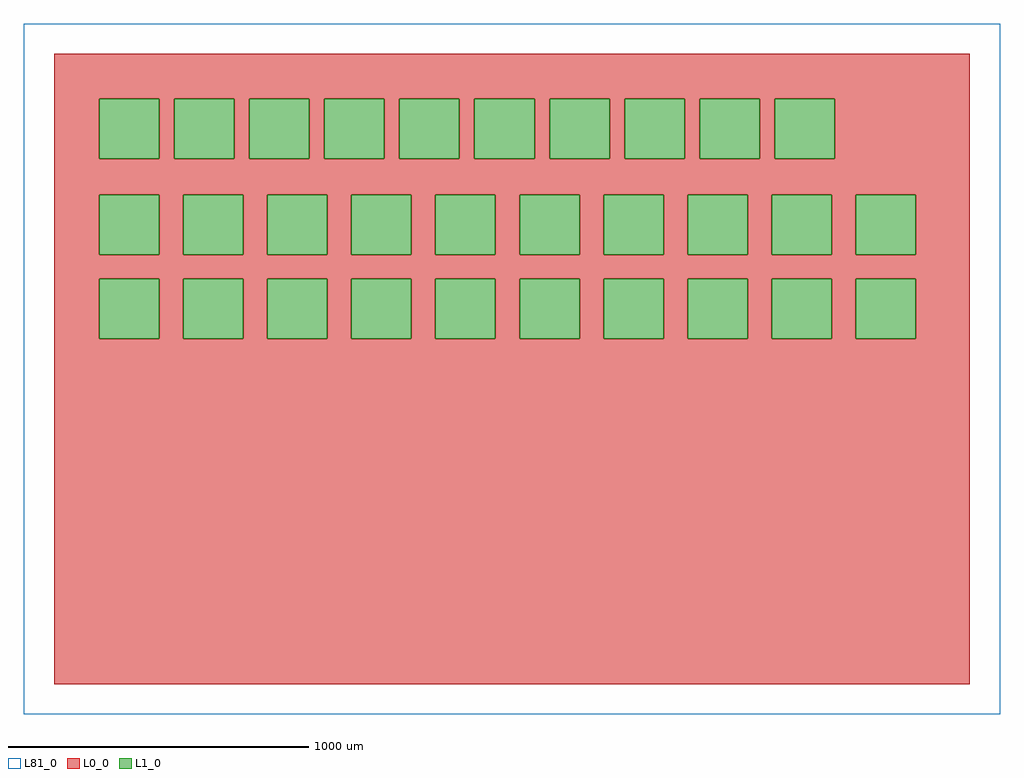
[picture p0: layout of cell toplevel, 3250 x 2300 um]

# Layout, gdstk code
import gdstk
lib = gdstk.Library(unit=1e-6, precision=1e-09)
def R(c, l, rs):  # rectangles x0, y0, x1, y1
    for r in rs: c.add(gdstk.rectangle(r[:2], r[2:], *l))
def P(c, l, *ps):  # polygons
    for p in ps: c.add(gdstk.Polygon(p, *l))
L0_0 = (0, 0)
L1_0 = (1, 0)
L81_0 = (81, 0)

rectangle = lib.new_cell('rectangle')

offset = lib.new_cell('offset')
R(offset, L81_0, [(-150,-150,3100,2150)])

rectangle002 = lib.new_cell('rectangle002')
R(rectangle002, L1_0, [(0,0,200,200)])

boolean = lib.new_cell('boolean')
P(boolean, L0_0, [(1525,1050),(-1525,1050),(-1525,700),(-1375,700),(-1375,900),(-1175,900),(-1175,700),(-1125,700),(-1125,900),(-925,900),(-925,700),(-875,700),(-875,900),(-675,900),(-675,700),(-625,700),(-625,900),(-425,900),(-425,700),(-375,700),(-375,900),(-175,900),(-175,700),(-125,700),(-125,900),(75,900),(75,700),(125,700),(125,900),(325,900),(325,700),(375,700),(375,900),(575,900),(575,700),(625,700),(625,900),(825,900),(825,700),(875,700),(875,900),(1075,900),(1075,700),(875,700),(825,700),(625,700),(575,700),(375,700),(325,700),(125,700),(75,700),(-125,700),(-175,700),(-375,700),(-425,700),(-625,700),(-675,700),(-875,700),(-925,700),(-1125,700),(-1175,700),(-1375,700),(-1525,700),(-1525,380),(-1375,380),(-1375,580),(-1175,580),(-1175,380),(-1095,380),(-1095,580),(-895,580),(-895,380),(-815,380),(-815,580),(-615,580),(-615,380),(-535,380),(-535,580),(-335,580),(-335,380),(-255,380),(-255,580),(-55,580),(-55,380),(25,380),(25,580),(225,580),(225,380),(305,380),(305,580),(505,580),(505,380),(585,380),(585,580),(785,580),(785,380),(865,380),(865,580),(1065,580),(1065,380),(1145,380),(1145,580),(1345,580),(1345,380),(1145,380),(1065,380),(865,380),(785,380),(585,380),(505,380),(305,380),(225,380),(25,380),(-55,380),(-255,380),(-335,380),(-535,380),(-615,380),(-815,380),(-895,380),(-1095,380),(-1175,380),(-1375,380),(-1525,380),(-1525,100),(-1375,100),(-1375,300),(-1175,300),(-1175,100),(-1095,100),(-1095,300),(-895,300),(-895,100),(-815,100),(-815,300),(-615,300),(-615,100),(-535,100),(-535,300),(-335,300),(-335,100),(-255,100),(-255,300),(-55,300),(-55,100),(25,100),(25,300),(225,300),(225,100),(305,100),(305,300),(505,300),(505,100),(585,100),(585,300),(785,300),(785,100),(865,100),(865,300),(1065,300),(1065,100),(1145,100),(1145,300),(1345,300),(1345,100),(1145,100),(1065,100),(865,100),(785,100),(585,100),(505,100),(305,100),(225,100),(25,100),(-55,100),(-255,100),(-335,100),(-535,100),(-615,100),(-815,100),(-895,100),(-1095,100),(-1175,100),(-1375,100),(-1525,100),(-1525,-1050),(1525,-1050)])

toplevel = lib.new_cell('toplevel')
toplevel.add(gdstk.Reference(rectangle, (-1475,-1000)))
toplevel.add(gdstk.Reference(offset, (-1475,-1000)))
toplevel.add(gdstk.Reference(rectangle002, (-1375,700)))
toplevel.add(gdstk.Reference(rectangle002, (-1125,700)))
toplevel.add(gdstk.Reference(rectangle002, (-875,700)))
toplevel.add(gdstk.Reference(rectangle002, (-625,700)))
toplevel.add(gdstk.Reference(rectangle002, (-375,700)))
toplevel.add(gdstk.Reference(rectangle002, (-125,700)))
toplevel.add(gdstk.Reference(rectangle002, (125,700)))
toplevel.add(gdstk.Reference(rectangle002, (375,700)))
toplevel.add(gdstk.Reference(rectangle002, (625,700)))
toplevel.add(gdstk.Reference(rectangle002, (875,700)))
toplevel.add(gdstk.Reference(rectangle002, (-1375,380)))
toplevel.add(gdstk.Reference(rectangle002, (-1095,380)))
toplevel.add(gdstk.Reference(rectangle002, (-815,380)))
toplevel.add(gdstk.Reference(rectangle002, (-535,380)))
toplevel.add(gdstk.Reference(rectangle002, (-255,380)))
toplevel.add(gdstk.Reference(rectangle002, (25,380)))
toplevel.add(gdstk.Reference(rectangle002, (305,380)))
toplevel.add(gdstk.Reference(rectangle002, (585,380)))
toplevel.add(gdstk.Reference(rectangle002, (865,380)))
toplevel.add(gdstk.Reference(rectangle002, (1145,380)))
toplevel.add(gdstk.Reference(rectangle002, (-1375,100)))
toplevel.add(gdstk.Reference(rectangle002, (-1095,100)))
toplevel.add(gdstk.Reference(rectangle002, (-815,100)))
toplevel.add(gdstk.Reference(rectangle002, (-535,100)))
toplevel.add(gdstk.Reference(rectangle002, (-255,100)))
toplevel.add(gdstk.Reference(rectangle002, (25,100)))
toplevel.add(gdstk.Reference(rectangle002, (305,100)))
toplevel.add(gdstk.Reference(rectangle002, (585,100)))
toplevel.add(gdstk.Reference(rectangle002, (865,100)))
toplevel.add(gdstk.Reference(rectangle002, (1145,100)))
toplevel.add(gdstk.Reference(boolean, (0,0)))

lib.write_gds('toplevel.gds')
